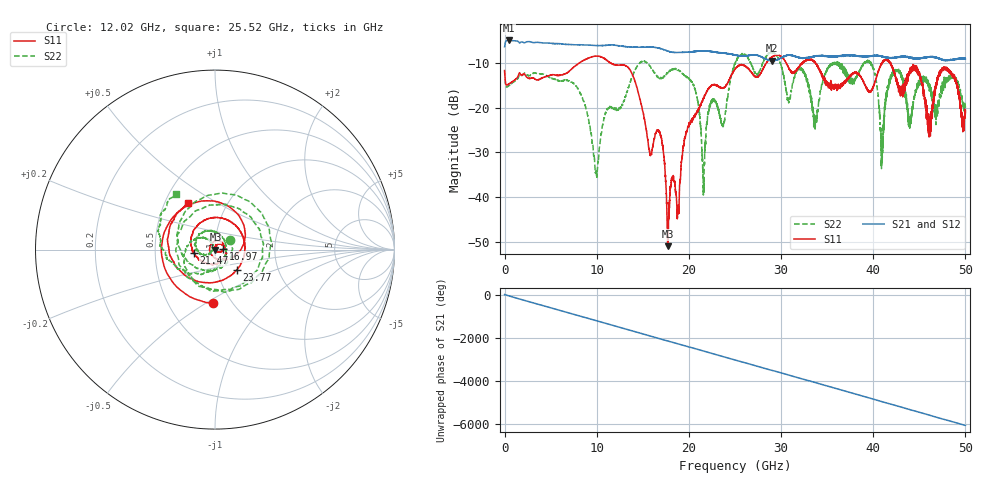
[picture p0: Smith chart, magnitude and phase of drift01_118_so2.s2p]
!Created with skrf (http://scikit-rf.org).
# Hz S RI R 50.0
!freq ReS11 ImS11 ReS21 ImS21 ReS12 ImS12 ReS22 ImS22
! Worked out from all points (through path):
!   10001 points, 300 kHz to 50 GHz, reference 50 ohm
!   highest |S21| = -5.05 dB at 490.3 MHz (marker M1); lowest = -9.6 dB at 29.02 GHz (marker M2)
!   group delay of S21, straight-line fit = 336 ps
!   lowest |S11| = -50.9 dB at 17.69 GHz (marker M3), VSWR 1.01, Z = 50.3 - j0.105 ohm
!   |S11| at or under -10 dB: start of sweep to 8.163 GHz; 11.43 GHz to 28.42 GHz (16.99 GHz wide, 85.3 % of centre); 41.9 GHz to end of sweep (the widest 3 of 9)
!   |S22| runs from -39.5 to -7.6 dB; largest |S21 - S12| = 0.015
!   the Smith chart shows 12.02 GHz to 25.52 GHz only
!   S11 on the Smith chart (normalised r, x): 12.02 GHz: 0.82, -0.54; 16.97 GHz: 1.10, +0.01; 21.47 GHz: 0.79, -0.03; 23.77 GHz: 1.24, -0.29; 25.52 GHz: 0.66, +0.37
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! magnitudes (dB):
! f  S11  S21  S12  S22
! 300 kHz  -11.8  -6.5  -6.5  -11.8
! 490.3 MHz  -14.7  -5.1  -5.1  -15.1
! 8.335 GHz  -9.8  -6.0  -6.0  -17.5
! 9.94 GHz  -8.5  -6.2  -6.2  -34.5
! 12.02 GHz  -10.5  -6.1  -6.1  -20.4
! 16.67 GHz  -24.9  -6.7  -6.7  -13.3
! 16.97 GHz  -26.6  -6.9  -6.9  -13.3
! 17.69 GHz  -50.9  -7.4  -7.4  -12.3
! 20.5 GHz  -22.3  -7.6  -7.5  -14.9
! 21.47 GHz  -18.6  -7.4  -7.4  -31.6
! 22.46 GHz  -15.1  -7.5  -7.5  -18.9
! 23.77 GHz  -15.6  -7.9  -7.9  -23.5
! 25 GHz  -11.4  -8.3  -8.3  -10.3
! 25.52 GHz  -10.5  -8.5  -8.5  -8.4
! 29.02 GHz  -8.7  -9.6  -9.6  -7.7
! 33.34 GHz  -9.4  -8.7  -8.7  -19.4
! 39.51 GHz  -16.4  -8.5  -8.6  -9.9
! 40.95 GHz  -10.1  -8.6  -8.5  -29.8
! 41.67 GHz  -9.6  -8.8  -9.0  -15.1
! 46.1 GHz  -24.5  -8.7  -8.7  -15.1
! 48.04 GHz  -11.8  -9.4  -9.4  -13.6
! 50 GHz  -21.2  -9.2  -9.1  -20.0
